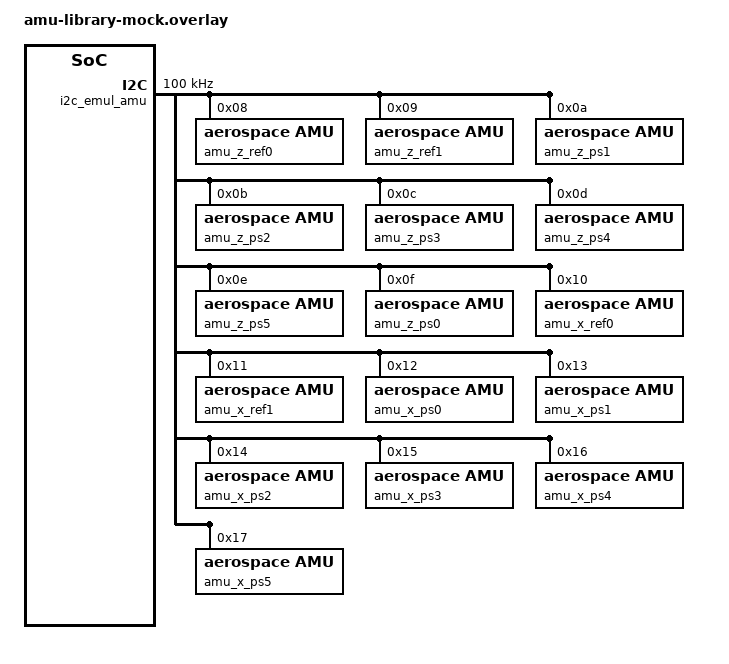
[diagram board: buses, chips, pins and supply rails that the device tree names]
/ {
	i2c_emul_amu: i2c@102 {
		compatible = "zephyr,i2c-emul-controller";
		reg = <0x102 4>;
		#address-cells = <1>;
		#size-cells = <0>;
		clock-frequency = <100000>;
		status = "okay";

		amu_z_ref0: amu@8 {
			compatible = "aerospace,amu";
			reg = <0x08>;
			status = "okay";
			payload-index = <0>;
			face = "pos-z";
		};
		amu_z_ref1: amu@9 {
			compatible = "aerospace,amu";
			reg = <0x09>;
			status = "okay";
			payload-index = <1>;
			face = "pos-z";
		};
		amu_z_ps1: amu@a {
			compatible = "aerospace,amu";
			reg = <0x0a>;
			status = "okay";
			payload-index = <3>;
			face = "pos-z";
		};
		amu_z_ps2: amu@b {
			compatible = "aerospace,amu";
			reg = <0x0b>;
			status = "okay";
			payload-index = <4>;
			face = "pos-z";
		};
		amu_z_ps3: amu@c {
			compatible = "aerospace,amu";
			reg = <0x0c>;
			status = "okay";
			payload-index = <5>;
			face = "pos-z";
		};
		amu_z_ps4: amu@d {
			compatible = "aerospace,amu";
			reg = <0x0d>;
			status = "okay";
			payload-index = <6>;
			face = "pos-z";
		};
		amu_z_ps5: amu@e {
			compatible = "aerospace,amu";
			reg = <0x0e>;
			status = "okay";
			payload-index = <7>;
			face = "pos-z";
		};
		amu_z_ps0: amu@f {
			compatible = "aerospace,amu";
			reg = <0x0f>;
			status = "okay";
			payload-index = <2>;
			face = "pos-z";
		};
		amu_x_ref0: amu@10 {
			compatible = "aerospace,amu";
			reg = <0x10>;
			status = "okay";
			payload-index = <8>;
			face = "pos-x";
		};
		amu_x_ref1: amu@11 {
			compatible = "aerospace,amu";
			reg = <0x11>;
			status = "okay";
			payload-index = <9>;
			face = "pos-x";
		};
		amu_x_ps0: amu@12 {
			compatible = "aerospace,amu";
			reg = <0x12>;
			status = "okay";
			payload-index = <10>;
			face = "pos-x";
		};
		amu_x_ps1: amu@13 {
			compatible = "aerospace,amu";
			reg = <0x13>;
			status = "okay";
			payload-index = <11>;
			face = "pos-x";
		};
		amu_x_ps2: amu@14 {
			compatible = "aerospace,amu";
			reg = <0x14>;
			status = "okay";
			payload-index = <12>;
			face = "pos-x";
		};
		amu_x_ps3: amu@15 {
			compatible = "aerospace,amu";
			reg = <0x15>;
			status = "okay";
			payload-index = <13>;
			face = "pos-x";
		};
		amu_x_ps4: amu@16 {
			compatible = "aerospace,amu";
			reg = <0x16>;
			status = "okay";
			payload-index = <14>;
			face = "pos-x";
		};
		amu_x_ps5: amu@17 {
			compatible = "aerospace,amu";
			reg = <0x17>;
			status = "okay";
			payload-index = <15>;
			face = "pos-x";
		};
	};
};
